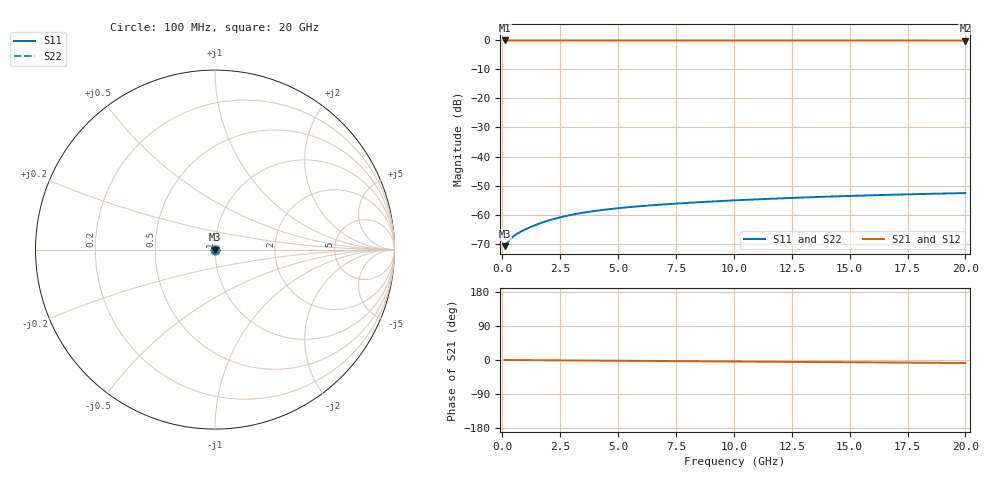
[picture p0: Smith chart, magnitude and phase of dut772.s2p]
! Touchstone file exported from HFSS 2026.1.0
!  File:  C:/ffzhzh/LocalFiles/Ansys_Project_Files/temp_train_TSV_772_1783183500_22436.aedt
!  Generated:  12:46:25 AM Jul  5, 2026
!  Design:  TSV
!  Project:  temp_train_TSV_772_1783183500_22436
! Variables:
!  h_bsmrdl = 2um
!  h_ox = 20um
!  h_rdl = 5um
!  h_sub = 83.3um
!  h_tmrdl = 5um
!  h_tsv = 83.3um
!  h_via = 3um
!  l_bsmrdl = 300um
!  l_sub = 412.68um
!  l_tmrdl = 200um
!  m_sub = 200um
!  pitch = 26.33um
!  r_tsv = 6.34um
!  s_tmrdl = 10um
!  w_bsmrdl = 18um
!  w_sub = 500um
!  w_tmrdl = 12um
!  x_tsv_center1 = 206um
!  x_tsv_center2 = 524um
!  x_tsv_center3 = 736um
!  x_tsv_center4 = 1054um
!  x_tsv_center5 = 1266um
!  x_tsv_center6 = 1584um
# GHz S MA R 50.000000
! Terminal data exported
! Port[1] = TSV1_1_T1
! Port[2] = TSV1_1_T2
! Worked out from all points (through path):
!   200 points, 100 MHz to 20 GHz, reference 50 ohm
!   highest |S21| = 0.00 dB at 100 MHz (marker M1); lowest = 0.0 dB at 20 GHz (marker M2)
!   group delay of S21, straight-line fit = 1.09 ps
!   lowest |S11| = -70.9 dB at 100 MHz (marker M3), VSWR 1.00, Z = 50 + j0.00605 ohm
!   |S11| at or under -10 dB: start of sweep to end of sweep
!   |S22| runs from -70.9 to -52.6 dB; largest |S21 - S12| = 2e-15
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0.1  0.0002849 12.3  0.9997 -0.0  0.9997 -0.0  0.0002849 12.3
! Gamma 0 0 0 0
! Port Impedance 50 0 50 0
0.3  0.0003573 25.6  0.9997 -0.1  0.9997 -0.1  0.0003573 25.6
0.4  0.0003937 28.5  0.9997 -0.2  0.9997 -0.2  0.0003937 28.5
0.5  0.000426 30.4  0.9996 -0.2  0.9996 -0.2  0.000426 30.4
0.6  0.0004551 31.9  0.9996 -0.2  0.9996 -0.2  0.0004551 31.9
0.8  0.0005073 34.3  0.9996 -0.3  0.9996 -0.3  0.0005073 34.3
1  0.0005561 36.4  0.9995 -0.4  0.9995 -0.4  0.0005561 36.4
1.2  0.000604 38.0  0.9995 -0.5  0.9995 -0.5  0.000604 38.0
1.7  0.0007215 40.5  0.9994 -0.7  0.9994 -0.7  0.0007215 40.5
2  0.0007894 41.1  0.9994 -0.8  0.9994 -0.8  0.0007894 41.1
2.3  0.0008543 41.4  0.9993 -0.9  0.9993 -0.9  0.0008543 41.4
2.9  0.0009731 41.1  0.9993 -1.2  0.9993 -1.2  0.0009731 41.1
3.5  0.001077 40.4  0.9992 -1.4  0.9992 -1.4  0.001077 40.4
4.2  0.001182 39.3  0.9991 -1.7  0.9991 -1.7  0.001182 39.3
4.9  0.001274 38.3  0.999 -2.0  0.999 -2.0  0.001274 38.3
5.8  0.001377 37.2  0.9989 -2.3  0.9989 -2.3  0.001377 37.2
6.8  0.001478 36.1  0.9988 -2.7  0.9988 -2.7  0.001478 36.1
8.3  0.001614 34.6  0.9987 -3.3  0.9987 -3.3  0.001614 34.6
10.1  0.00176 33.1  0.9986 -4.0  0.9986 -4.0  0.00176 33.1
13.4  0.001993 30.2  0.9984 -5.3  0.9984 -5.3  0.001993 30.2
16.7  0.002187 27.2  0.9982 -6.6  0.9982 -6.6  0.002186 27.2
20  0.002344 24.2  0.998 -7.9  0.998 -7.9  0.002344 24.2
